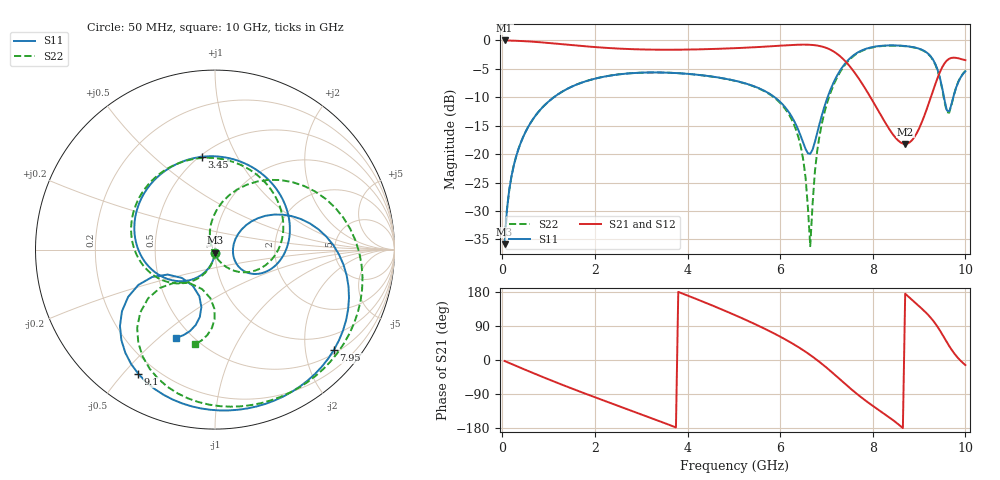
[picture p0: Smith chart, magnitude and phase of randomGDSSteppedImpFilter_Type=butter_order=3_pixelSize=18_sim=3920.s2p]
! freq	dB(S11)	phase(S11)	dB(S12)	phase(S12)
!  dB(S21)	phase(S21)	dB(S22)	phase(S22)
!S-par simulation data
#  GHz  S  DB  R 50
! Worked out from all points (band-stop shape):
!   200 points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, 50 MHz to 10 GHz, reference 50 ohm
!   highest |S21| = 0.00 dB at 50 MHz (marker M1); lowest = -18.2 dB at 8.7 GHz (marker M2)
!   |S21| within 3 dB of the highest: start of sweep to 7.325 GHz
!   lowest |S11| = -35.8 dB at 50 MHz (marker M3), VSWR 1.03, Z = 49.9 - j1.62 ohm
!   |S11| at or under -10 dB: start of sweep to 1.112 GHz; 5.883 GHz to 7.024 GHz (1.141 GHz wide, 17.7 % of centre); 9.538 GHz to 9.739 GHz (200.8 MHz wide, 2.08 % of centre)
!   |S22| runs from -36.2 to -0.9 dB; largest |S21 - S12| = 0
!   S11 on the Smith chart (normalised r, x): 50 MHz: 1.00, -0.03; 3.45 GHz: 0.51, +0.73; 7.95 GHz: 0.59, -2.63; 9.1 GHz: 0.13, -0.55; 10 GHz: 0.41, -0.57
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0.05  -35.79 -92.7  -0.00 -2.7  -0.00 -2.7  -35.79 -92.5
0.2  -23.82 -101.2  -0.03 -10.5  -0.03 -10.5  -23.82 -100.4
0.5  -16.12 -117.5  -0.14 -26.0  -0.14 -26.0  -16.11 -115.6
1.75  -7.32 178.9  -1.00 -86.8  -1.00 -86.8  -7.32 -173.9
3.4  -5.64 100.5  -1.63 -161.6  -1.63 -161.6  -5.64 115.1
3.45  -5.64 98.1  -1.64 -164.0  -1.64 -164.0  -5.64 113.0
5.05  -7.13 19.1  -1.35 117.1  -1.35 117.1  -7.15 36.6
6.2  -12.76 -34.7  -0.83 48.2  -0.83 48.2  -13.16 -35.0
6.5  -18.05 -28.6  -0.74 25.7  -0.74 25.7  -21.05 -63.4
6.65  -19.94 3.8  -0.77 13.2  -0.77 13.2  -36.18 -157.8
6.7  -19.21 17.1  -0.80 8.8  -0.80 8.8  -28.81 129.8
6.85  -14.67 37.0  -0.97 -5.1  -0.97 -5.1  -16.77 98.9
7.1  -8.39 30.8  -1.69 -30.5  -1.69 -30.5  -8.92 69.6
7.45  -3.62 2.2  -4.04 -68.1  -4.04 -68.1  -3.79 30.0
7.95  -1.24 -40.1  -9.98 -116.6  -9.98 -116.6  -1.31 -19.6
8.35  -0.88 -68.5  -15.51 -150.8  -15.51 -150.8  -0.92 -51.5
8.7  -0.98 -91.7  -18.21 174.9  -18.21 174.9  -1.02 -77.0
9.1  -1.79 -121.7  -13.54 130.7  -13.54 130.7  -1.84 -109.0
9.35  -4.13 -146.5  -7.70 96.3  -7.70 96.3  -4.22 -134.8
9.55  -10.51 -152.2  -4.02 57.4  -4.02 57.4  -10.79 -140.6
9.75  -9.65 -103.3  -3.03 19.0  -3.03 19.0  -9.63 -90.6
10  -5.42 -113.7  -3.47 -13.5  -3.47 -13.5  -5.36 -102.0
